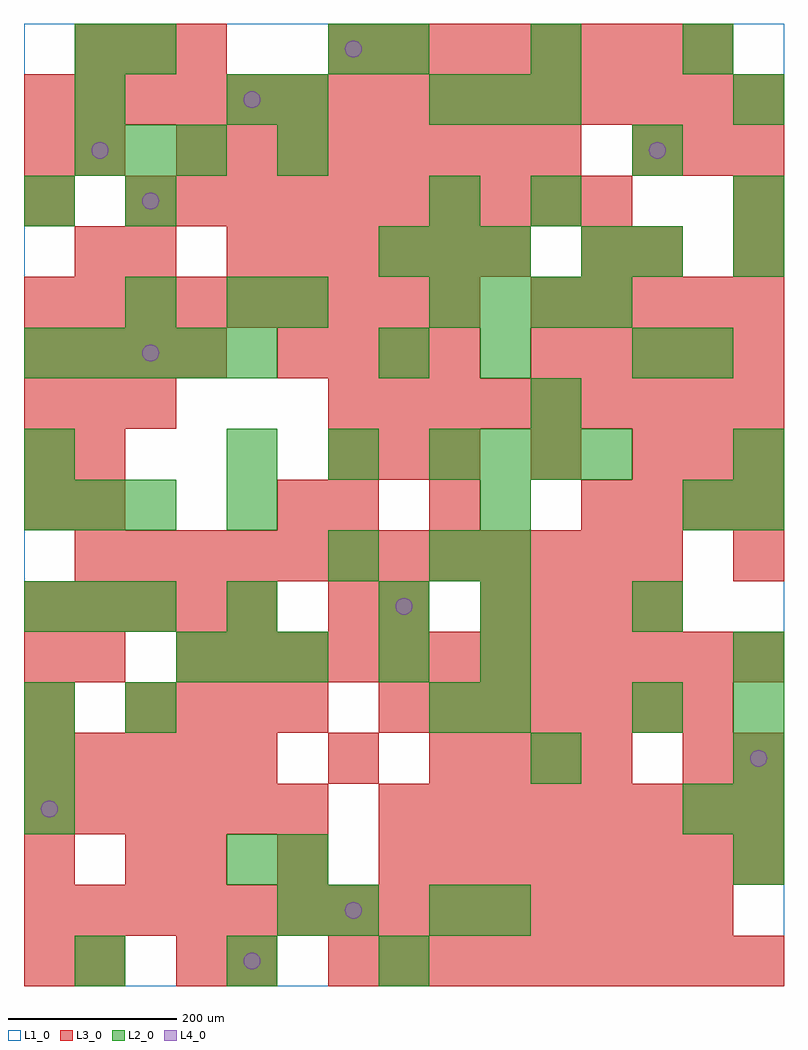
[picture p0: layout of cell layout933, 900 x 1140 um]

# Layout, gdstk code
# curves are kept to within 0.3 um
import gdstk
lib = gdstk.Library(unit=1e-6, precision=1e-09)
def R(c, l, rs):  # rectangles x0, y0, x1, y1
    for r in rs: c.add(gdstk.rectangle(r[:2], r[2:], *l))
def A(c, l, x, y, w, h, nx, ny, dx, dy):  # array of equal rectangles
    R(c, l, [(x+i*dx, y+j*dy, x+i*dx+w, y+j*dy+h) for i in range(nx) for j in range(ny)])
def P(c, l, *ps):  # polygons
    for p in ps: c.add(gdstk.Polygon(p, *l))
L1_0 = (1, 0)
L2_0 = (2, 0)
L3_0 = (3, 0)
L4_0 = (4, 0)

layout933 = lib.new_cell('layout933')
R(layout933, L1_0, [(0,0,900,1140)])
A(layout933, L2_0, 60, 0, 60, 60, 3, 1, 180, 0)
A(layout933, L2_0, 840, 120, 60, 60, 1, 5, 0, 60)
A(layout933, L2_0, 0, 180, 60, 60, 1, 3, 0, 60)
A(layout933, L2_0, 540, 300, 60, 60, 1, 5, 0, 60)
A(layout933, L2_0, 180, 360, 60, 60, 3, 1, 60, 0)
A(layout933, L2_0, 0, 420, 60, 60, 3, 2, 60, 120)
A(layout933, L2_0, 240, 540, 60, 60, 1, 3, 0, 240)
A(layout933, L2_0, 240, 600, 60, 60, 3, 1, 120, 0)
A(layout933, L2_0, 540, 600, 60, 60, 3, 1, 60, 0)
A(layout933, L2_0, 0, 720, 60, 60, 5, 1, 60, 0)
A(layout933, L2_0, 720, 720, 60, 60, 1, 3, 0, 120)
A(layout933, L2_0, 480, 780, 60, 60, 4, 1, 60, 0)
A(layout933, L2_0, 420, 840, 60, 60, 3, 1, 60, 0)
A(layout933, L2_0, 60, 960, 60, 60, 3, 1, 60, 0)
A(layout933, L2_0, 480, 1020, 60, 60, 3, 1, 60, 0)
A(layout933, L2_0, 420, 1080, 60, 60, 3, 1, 180, 0)
R(layout933, L2_0, [(300,60,360,120), (360,60,420,120), (480,60,540,120), (540,60,600,120), (240,120,300,180), (300,120,360,180), (780,180,840,240), (600,240,660,300), (120,300,180,360), (480,300,540,360), (720,300,780,360), (420,360,480,420), (240,420,300,480), (420,420,480,480), (720,420,780,480), (360,480,420,540), (480,480,540,540), (780,540,840,600), (840,540,900,600), (0,600,60,660), (840,600,900,660), (600,660,660,720), (420,720,480,780), (540,720,600,780), (780,720,840,780), (120,780,180,840), (300,780,360,840), (660,840,720,900), (840,840,900,900), (0,900,60,960), (120,900,180,960), (480,900,540,960), (600,900,660,960), (840,900,900,960), (300,960,360,1020), (60,1020,120,1080), (300,1020,360,1080), (840,1020,900,1080), (60,1080,120,1140), (120,1080,180,1140), (360,1080,420,1140)])
A(layout933, L3_0, 360, 0, 60, 60, 9, 2, 60, 660)
A(layout933, L3_0, 0, 60, 60, 60, 14, 1, 60, 0)
A(layout933, L3_0, 180, 120, 60, 60, 3, 1, 120, 0)
A(layout933, L3_0, 480, 120, 60, 60, 7, 1, 60, 0)
A(layout933, L3_0, 0, 180, 60, 60, 6, 1, 60, 0)
A(layout933, L3_0, 420, 180, 60, 60, 8, 1, 60, 0)
A(layout933, L3_0, 0, 240, 60, 60, 5, 2, 60, 180)
A(layout933, L3_0, 480, 240, 60, 60, 4, 1, 60, 0)
A(layout933, L3_0, 120, 300, 60, 60, 4, 1, 60, 0)
A(layout933, L3_0, 420, 300, 60, 60, 7, 1, 60, 0)
A(layout933, L3_0, 180, 360, 60, 60, 12, 1, 60, 0)
A(layout933, L3_0, 540, 420, 60, 60, 4, 1, 60, 0)
A(layout933, L3_0, 60, 480, 60, 60, 12, 1, 60, 0)
A(layout933, L3_0, 660, 540, 60, 60, 4, 1, 60, 0)
A(layout933, L3_0, 360, 600, 60, 60, 3, 1, 60, 0)
A(layout933, L3_0, 720, 600, 60, 60, 3, 2, 60, 360)
A(layout933, L3_0, 0, 660, 60, 60, 3, 1, 60, 0)
A(layout933, L3_0, 0, 720, 60, 60, 4, 1, 60, 0)
A(layout933, L3_0, 300, 720, 60, 60, 4, 1, 60, 0)
A(layout933, L3_0, 600, 720, 60, 60, 5, 2, 60, 60)
A(layout933, L3_0, 0, 780, 60, 60, 9, 1, 60, 0)
A(layout933, L3_0, 240, 840, 60, 60, 6, 1, 60, 0)
A(layout933, L3_0, 120, 900, 60, 60, 10, 1, 60, 0)
A(layout933, L3_0, 180, 960, 60, 60, 8, 1, 60, 0)
A(layout933, L3_0, 0, 1020, 60, 60, 15, 1, 60, 0)
A(layout933, L3_0, 60, 1080, 60, 60, 3, 1, 60, 0)
A(layout933, L3_0, 360, 1080, 60, 60, 8, 1, 60, 0)
R(layout933, L3_0, [(0,0,60,60), (60,0,120,60), (180,0,240,60), (240,0,300,60), (0,120,60,180), (120,120,180,180), (360,240,420,300), (780,240,840,300), (840,240,900,300), (0,300,60,360), (0,360,60,420), (60,360,120,420), (360,420,420,480), (420,420,480,480), (840,480,900,540), (0,540,60,600), (60,540,120,600), (300,540,360,600), (360,540,420,600), (480,540,540,600), (0,600,60,660), (60,600,120,660), (600,600,660,660), (60,840,120,900), (120,840,180,900), (660,840,720,900), (720,840,780,900), (840,840,900,900), (0,900,60,960), (840,900,900,960), (0,960,60,1020), (60,960,120,1020)])
P(layout933, L4_0, [(40,210),(39.239,213.827),(37.071,217.071),(33.827,219.239),(30,220),(26.173,219.239),(22.929,217.071),(20.761,213.827),(20,210),(20.761,206.173),(22.929,202.929),(26.173,200.761),(30,200),(33.827,200.761),(37.071,202.929),(39.239,206.173)],
  [(100,990),(99.239,993.827),(97.071,997.071),(93.827,999.239),(90,1000),(86.173,999.239),(82.929,997.071),(80.761,993.827),(80,990),(80.761,986.173),(82.929,982.929),(86.173,980.761),(90,980),(93.827,980.761),(97.071,982.929),(99.239,986.173)],
  [(160,750),(159.239,753.827),(157.071,757.071),(153.827,759.239),(150,760),(146.173,759.239),(142.929,757.071),(140.761,753.827),(140,750),(140.761,746.173),(142.929,742.929),(146.173,740.761),(150,740),(153.827,740.761),(157.071,742.929),(159.239,746.173)],
  [(160,930),(159.239,933.827),(157.071,937.071),(153.827,939.239),(150,940),(146.173,939.239),(142.929,937.071),(140.761,933.827),(140,930),(140.761,926.173),(142.929,922.929),(146.173,920.761),(150,920),(153.827,920.761),(157.071,922.929),(159.239,926.173)],
  [(280,30),(279.239,33.827),(277.071,37.071),(273.827,39.239),(270,40),(266.173,39.239),(262.929,37.071),(260.761,33.827),(260,30),(260.761,26.173),(262.929,22.929),(266.173,20.761),(270,20),(273.827,20.761),(277.071,22.929),(279.239,26.173)],
  [(280,1050),(279.239,1053.827),(277.071,1057.071),(273.827,1059.239),(270,1060),(266.173,1059.239),(262.929,1057.071),(260.761,1053.827),(260,1050),(260.761,1046.173),(262.929,1042.929),(266.173,1040.761),(270,1040),(273.827,1040.761),(277.071,1042.929),(279.239,1046.173)],
  [(400,90),(399.239,93.827),(397.071,97.071),(393.827,99.239),(390,100),(386.173,99.239),(382.929,97.071),(380.761,93.827),(380,90),(380.761,86.173),(382.929,82.929),(386.173,80.761),(390,80),(393.827,80.761),(397.071,82.929),(399.239,86.173)],
  [(400,1110),(399.239,1113.827),(397.071,1117.071),(393.827,1119.239),(390,1120),(386.173,1119.239),(382.929,1117.071),(380.761,1113.827),(380,1110),(380.761,1106.173),(382.929,1102.929),(386.173,1100.761),(390,1100),(393.827,1100.761),(397.071,1102.929),(399.239,1106.173)],
  [(460,450),(459.239,453.827),(457.071,457.071),(453.827,459.239),(450,460),(446.173,459.239),(442.929,457.071),(440.761,453.827),(440,450),(440.761,446.173),(442.929,442.929),(446.173,440.761),(450,440),(453.827,440.761),(457.071,442.929),(459.239,446.173)],
  [(760,990),(759.239,993.827),(757.071,997.071),(753.827,999.239),(750,1000),(746.173,999.239),(742.929,997.071),(740.761,993.827),(740,990),(740.761,986.173),(742.929,982.929),(746.173,980.761),(750,980),(753.827,980.761),(757.071,982.929),(759.239,986.173)],
  [(880,270),(879.239,273.827),(877.071,277.071),(873.827,279.239),(870,280),(866.173,279.239),(862.929,277.071),(860.761,273.827),(860,270),(860.761,266.173),(862.929,262.929),(866.173,260.761),(870,260),(873.827,260.761),(877.071,262.929),(879.239,266.173)])

lib.write_gds('layout933.gds')
